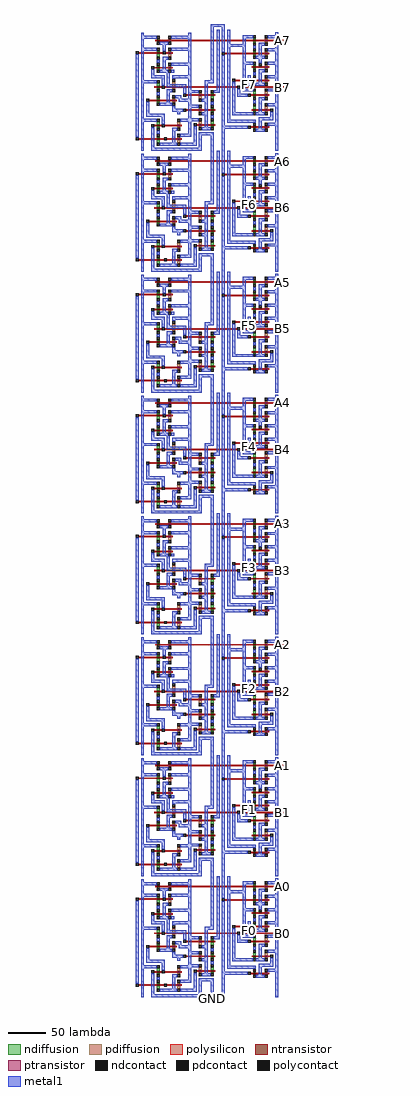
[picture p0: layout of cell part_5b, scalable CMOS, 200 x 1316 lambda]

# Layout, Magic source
magic
tech scmos
<< polysilicon >>
rect 196 1289 200 1291
rect 196 1226 200 1228
rect 196 1126 200 1128
rect 196 1063 200 1065
rect 196 963 200 965
rect 196 900 200 902
rect 196 800 200 802
rect 196 737 200 739
rect 196 637 200 639
rect 196 574 200 576
rect 196 474 200 476
rect 196 411 200 413
rect 196 311 200 313
rect 196 248 200 250
rect 196 148 200 150
rect 196 85 200 87
<< metal1 >>
rect 101 1308 120 1312
rect 101 1304 105 1308
rect 116 1304 120 1308
rect 151 1229 155 1233
rect 151 1066 155 1070
rect 151 903 155 907
rect 151 740 155 744
rect 151 577 155 581
rect 151 414 155 418
rect 151 251 155 255
rect 151 88 155 92
rect 101 -4 105 0
use part_5  part_5_0
array 0 0 196 0 7 163
transform 1 0 72 0 1 128
box -72 -128 124 35
<< labels >>
rlabel metal1 101 -4 105 0 0 GND
rlabel metal1 151 88 155 92 0 F0
rlabel metal1 151 251 155 255 0 F1
rlabel metal1 151 414 155 418 0 F2
rlabel metal1 151 577 155 581 0 F3
rlabel metal1 151 740 155 744 0 F4
rlabel metal1 151 903 155 907 0 F5
rlabel metal1 151 1066 155 1070 0 F6
rlabel metal1 151 1229 155 1233 0 F7
rlabel polysilicon 196 1289 200 1291 0 A7
rlabel polysilicon 196 1226 200 1228 0 B7
rlabel polysilicon 196 1126 200 1128 0 A6
rlabel polysilicon 196 1063 200 1065 0 B6
rlabel polysilicon 196 900 200 902 0 B5
rlabel polysilicon 196 963 200 965 0 A5
rlabel polysilicon 196 800 200 802 0 A4
rlabel polysilicon 196 737 200 739 0 B4
rlabel polysilicon 196 637 200 639 0 A3
rlabel polysilicon 196 574 200 576 0 B3
rlabel polysilicon 196 474 200 476 0 A2
rlabel polysilicon 196 411 200 413 0 B2
rlabel polysilicon 196 311 200 313 0 A1
rlabel polysilicon 196 248 200 250 0 B1
rlabel polysilicon 196 148 200 150 0 A0
rlabel polysilicon 196 85 200 87 0 B0
<< end >>

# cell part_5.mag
magic
tech scmos
<< ntransistor >>
rect -44 20 -40 22
rect 86 20 90 22
rect -44 3 -40 5
rect 86 2 90 4
rect -44 -17 -40 -15
rect 86 -16 90 -14
rect 86 -34 90 -32
rect -44 -43 -40 -41
rect 29 -54 33 -52
rect -44 -61 -40 -59
rect 86 -54 90 -52
rect 29 -74 33 -72
rect 86 -74 90 -72
rect -44 -95 -40 -93
rect 29 -94 33 -92
rect 86 -97 90 -95
rect -44 -113 -40 -111
<< ptransistor >>
rect -28 20 -24 22
rect 102 20 106 22
rect -28 3 -24 5
rect 102 2 106 4
rect -28 -17 -24 -15
rect 102 -16 106 -14
rect 102 -34 106 -32
rect -23 -43 -19 -41
rect 13 -54 17 -52
rect -23 -61 -19 -59
rect 102 -54 106 -52
rect 13 -74 17 -72
rect 102 -74 106 -72
rect -16 -95 -12 -93
rect 13 -94 17 -92
rect 102 -97 106 -95
rect -16 -113 -12 -111
<< ndiffusion >>
rect -44 22 -40 23
rect 86 22 90 24
rect -44 19 -40 20
rect 86 18 90 20
rect -44 5 -40 7
rect -44 -1 -40 3
rect 86 4 90 6
rect 86 0 90 2
rect -44 -15 -40 -13
rect 86 -14 90 -12
rect -44 -19 -40 -17
rect 86 -18 90 -16
rect -44 -41 -40 -37
rect 86 -32 90 -30
rect -44 -45 -40 -43
rect 86 -36 90 -34
rect -44 -59 -40 -57
rect 29 -52 33 -50
rect -44 -63 -40 -61
rect 29 -58 33 -54
rect 86 -52 90 -48
rect 86 -56 90 -54
rect 29 -72 33 -70
rect 86 -72 90 -68
rect 29 -76 33 -74
rect 86 -76 90 -74
rect -44 -93 -40 -89
rect -44 -97 -40 -95
rect 29 -92 33 -88
rect 29 -96 33 -94
rect 86 -95 90 -94
rect 86 -98 90 -97
rect -44 -111 -40 -109
rect -44 -117 -40 -113
<< pdiffusion >>
rect -28 22 -24 23
rect 102 22 106 24
rect -28 19 -24 20
rect 102 18 106 20
rect -28 5 -24 7
rect -28 -1 -24 3
rect 102 4 106 6
rect 102 0 106 2
rect -28 -15 -24 -13
rect 102 -14 106 -12
rect -28 -19 -24 -17
rect 102 -18 106 -16
rect 102 -32 106 -30
rect -23 -41 -19 -35
rect 102 -36 106 -34
rect -23 -45 -19 -43
rect 13 -52 17 -50
rect -23 -59 -19 -57
rect 13 -58 17 -54
rect -23 -63 -19 -61
rect 102 -52 106 -48
rect 102 -56 106 -54
rect 13 -72 17 -70
rect 102 -72 106 -68
rect 13 -76 17 -74
rect 102 -76 106 -74
rect -16 -93 -12 -89
rect 13 -92 17 -88
rect -16 -97 -12 -95
rect 13 -96 17 -94
rect 102 -95 106 -94
rect 102 -98 106 -97
rect -16 -111 -12 -109
rect -16 -117 -12 -113
<< ndcontact >>
rect -44 23 -40 27
rect 86 24 90 28
rect -44 15 -40 19
rect 86 14 90 18
rect -44 7 -40 11
rect 86 6 90 10
rect -44 -5 -40 -1
rect 86 -4 90 0
rect -44 -13 -40 -9
rect 86 -12 90 -8
rect -44 -23 -40 -19
rect 86 -22 90 -18
rect 86 -30 90 -26
rect -44 -37 -40 -33
rect 86 -40 90 -36
rect -44 -49 -40 -45
rect -44 -57 -40 -53
rect 29 -50 33 -46
rect 86 -48 90 -44
rect -44 -67 -40 -63
rect 29 -62 33 -58
rect 86 -60 90 -56
rect 29 -70 33 -66
rect 86 -68 90 -64
rect 29 -80 33 -76
rect 86 -80 90 -76
rect -44 -89 -40 -85
rect 29 -88 33 -84
rect 86 -94 90 -90
rect -44 -101 -40 -97
rect 29 -100 33 -96
rect 86 -102 90 -98
rect -44 -109 -40 -105
rect -44 -121 -40 -117
<< pdcontact >>
rect -28 23 -24 27
rect 102 24 106 28
rect -28 15 -24 19
rect 102 14 106 18
rect -28 7 -24 11
rect 102 6 106 10
rect -28 -5 -24 -1
rect 102 -4 106 0
rect -28 -13 -24 -9
rect 102 -12 106 -8
rect -28 -23 -24 -19
rect 102 -22 106 -18
rect -23 -35 -19 -31
rect 102 -30 106 -26
rect 102 -40 106 -36
rect -23 -49 -19 -45
rect 13 -50 17 -46
rect -23 -57 -19 -53
rect 13 -62 17 -58
rect 102 -48 106 -44
rect 102 -60 106 -56
rect -23 -67 -19 -63
rect 13 -70 17 -66
rect 102 -68 106 -64
rect 13 -80 17 -76
rect 102 -80 106 -76
rect -16 -89 -12 -85
rect 13 -88 17 -84
rect -16 -101 -12 -97
rect 13 -100 17 -96
rect 102 -94 106 -90
rect 102 -102 106 -98
rect -16 -109 -12 -105
rect -16 -121 -12 -117
<< polysilicon >>
rect -46 20 -44 22
rect -40 20 -28 22
rect -24 20 86 22
rect 90 20 102 22
rect 106 20 124 22
rect -68 3 -44 5
rect -40 3 -36 5
rect -32 3 -28 5
rect -24 3 -22 5
rect 48 2 86 4
rect 90 2 102 4
rect 106 2 108 4
rect -47 -17 -44 -15
rect -40 -17 -28 -15
rect -24 -17 -22 -15
rect 84 -16 86 -14
rect 90 -16 102 -14
rect 106 -16 108 -14
rect 62 -34 86 -32
rect 90 -34 102 -32
rect 106 -34 108 -32
rect -47 -43 -44 -41
rect -40 -43 -37 -41
rect -33 -43 -23 -41
rect -19 -43 65 -41
rect 69 -43 124 -41
rect -4 -54 13 -52
rect 17 -54 29 -52
rect 33 -54 35 -52
rect -54 -61 -44 -59
rect -40 -61 -23 -59
rect -19 -61 -17 -59
rect 83 -54 86 -52
rect 90 -54 102 -52
rect 106 -54 108 -52
rect -4 -74 13 -72
rect 17 -74 29 -72
rect 33 -74 35 -72
rect 84 -74 86 -72
rect 90 -74 102 -72
rect 106 -74 109 -72
rect -47 -95 -44 -93
rect -40 -95 -37 -93
rect -33 -95 -16 -93
rect -12 -95 -10 -93
rect 10 -94 13 -92
rect 17 -94 29 -92
rect 33 -94 35 -92
rect 83 -97 86 -95
rect 90 -97 102 -95
rect 106 -97 108 -95
rect -68 -113 -44 -111
rect -40 -113 -34 -111
rect -30 -113 -16 -111
rect -12 -113 -10 -111
<< polycontact >>
rect -72 2 -68 6
rect -36 2 -32 6
rect 44 1 48 5
rect -51 -18 -47 -14
rect 94 -14 98 -10
rect 58 -35 62 -31
rect -37 -44 -33 -40
rect 65 -44 69 -40
rect -58 -62 -54 -58
rect -8 -55 -4 -51
rect 79 -55 83 -51
rect -8 -75 -4 -71
rect 109 -75 113 -71
rect -51 -96 -47 -92
rect -37 -96 -33 -92
rect 6 -95 10 -91
rect 79 -98 83 -94
rect -72 -114 -68 -110
rect -34 -114 -30 -110
<< metal1 >>
rect -65 27 -61 31
rect -1 27 3 31
rect -65 23 -44 27
rect -24 23 3 27
rect -65 11 -61 23
rect -40 15 -28 19
rect -65 7 -44 11
rect -72 -110 -68 2
rect -65 -33 -61 7
rect -36 6 -32 15
rect -1 11 3 23
rect -24 7 3 11
rect -44 -9 -40 -5
rect -36 -5 -28 -1
rect -51 -26 -47 -18
rect -36 -19 -32 -5
rect -1 -9 3 7
rect -24 -13 3 -9
rect -40 -23 -28 -19
rect -24 -23 -20 -19
rect -51 -30 -33 -26
rect -65 -37 -44 -33
rect -65 -85 -61 -37
rect -37 -40 -33 -30
rect -30 -38 -26 -23
rect -1 -26 3 -13
rect -23 -30 3 -26
rect -23 -31 -19 -30
rect -30 -42 -4 -38
rect -44 -53 -40 -49
rect -30 -49 -23 -45
rect -58 -78 -54 -62
rect -30 -63 -26 -49
rect -8 -51 -4 -42
rect -19 -57 -11 -53
rect -1 -46 3 -30
rect 29 -33 33 35
rect 21 -37 33 -33
rect -1 -50 13 -46
rect -14 -58 -11 -57
rect -1 -58 3 -50
rect 21 -58 25 -37
rect 37 -46 41 35
rect 33 -50 41 -46
rect 44 5 48 35
rect -14 -62 3 -58
rect 17 -62 25 -58
rect -40 -67 -23 -63
rect -23 -71 -19 -67
rect -1 -66 3 -62
rect -1 -70 13 -66
rect -23 -75 -8 -71
rect -58 -82 -33 -78
rect -16 -79 -12 -75
rect -65 -89 -44 -85
rect -65 -128 -61 -89
rect -37 -92 -33 -82
rect -1 -84 3 -70
rect 21 -76 25 -62
rect 29 -66 33 -62
rect 17 -80 25 -76
rect -1 -85 13 -84
rect -12 -88 13 -85
rect -12 -89 3 -88
rect -51 -124 -47 -96
rect -44 -105 -40 -101
rect -23 -101 -16 -97
rect -23 -117 -19 -101
rect -1 -105 3 -89
rect -12 -109 3 -105
rect 6 -117 10 -95
rect 21 -96 25 -80
rect 29 -84 33 -80
rect 44 -94 48 1
rect 51 16 55 35
rect 116 28 120 32
rect 72 24 86 28
rect 106 24 120 28
rect 72 16 76 24
rect 51 12 76 16
rect 51 -86 55 12
rect 72 -8 76 12
rect 86 10 90 14
rect 94 14 102 18
rect 94 0 98 14
rect 116 10 120 24
rect 106 6 120 10
rect 90 -4 102 0
rect 72 -12 86 -8
rect 94 -10 98 -4
rect 116 -8 120 6
rect 58 -76 62 -35
rect 65 -51 69 -44
rect 72 -44 76 -12
rect 106 -12 120 -8
rect 86 -26 90 -22
rect 79 -36 83 -26
rect 94 -22 102 -18
rect 94 -36 98 -22
rect 116 -26 120 -12
rect 106 -30 120 -26
rect 79 -40 86 -36
rect 90 -40 102 -36
rect 116 -44 120 -30
rect 72 -48 86 -44
rect 106 -48 120 -44
rect 65 -55 79 -51
rect 86 -64 90 -60
rect 94 -60 102 -56
rect 94 -76 98 -60
rect 116 -64 120 -48
rect 106 -68 120 -64
rect 58 -80 86 -76
rect 90 -80 102 -76
rect 109 -83 113 -75
rect 51 -90 90 -86
rect 94 -87 113 -83
rect 17 -100 29 -96
rect 44 -98 79 -94
rect 94 -98 98 -87
rect 116 -90 120 -68
rect 106 -94 120 -90
rect -40 -121 -16 -117
rect -12 -121 10 -117
rect 13 -107 33 -103
rect 13 -124 17 -107
rect -51 -128 17 -124
rect 29 -128 33 -107
rect 44 -128 48 -98
rect 90 -102 102 -98
rect 116 -128 120 -94
<< labels >>
rlabel metal1 79 -30 83 -26 0 MUX_OUT
rlabel polysilicon 120 20 124 22 0 A
rlabel polysilicon 120 -43 124 -41 0 B
rlabel metal1 44 -128 48 -124 0 SEL
rlabel metal1 51 31 55 35 0 GND
rlabel metal1 44 31 48 35 0 SEL
rlabel metal1 37 31 41 35 0 GND
rlabel metal1 29 -128 33 -124 0 C_IN
rlabel metal1 29 31 33 35 0 C_OUT
rlabel metal1 -24 -23 -20 -19 0 A_OUT
rlabel metal1 -16 -79 -12 -75 0 B_OUT
rlabel metal1 -4 -121 0 -117 0 CIN_OUT
rlabel metal1 -1 27 3 31 0 VDD
rlabel metal1 -65 27 -61 31 0 GND
rlabel metal1 116 28 120 32 0 VDD
<< end >>
